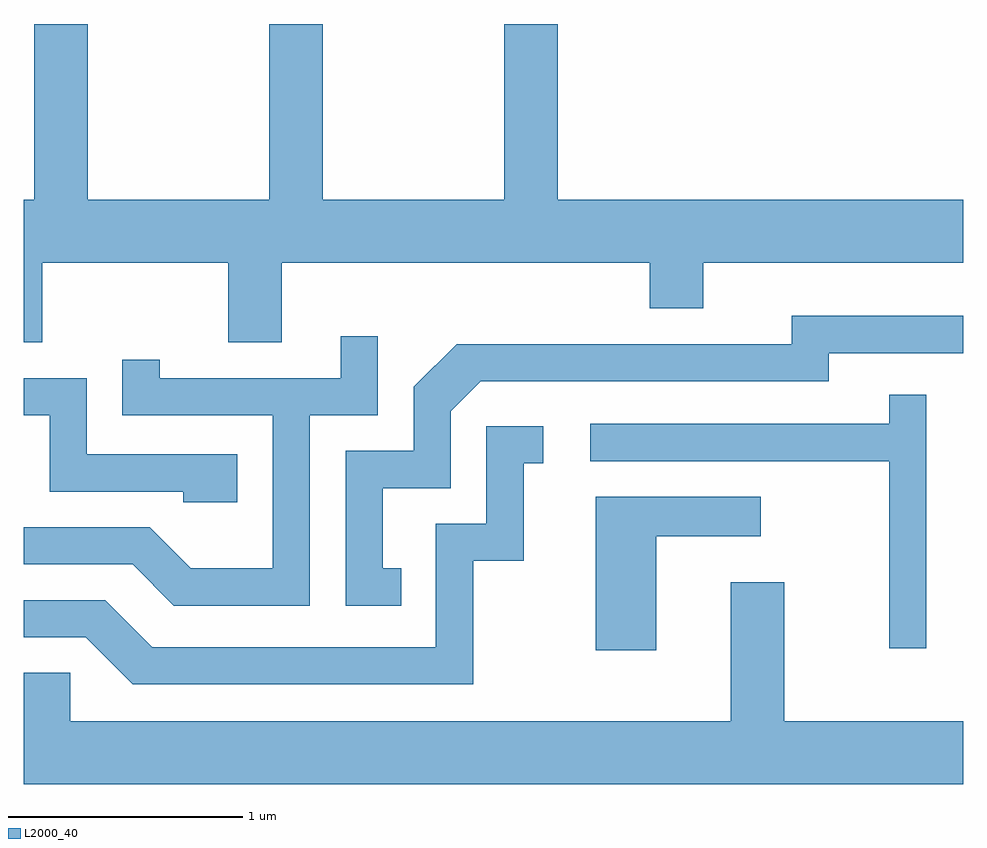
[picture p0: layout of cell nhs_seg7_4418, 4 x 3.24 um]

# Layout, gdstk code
import gdstk
lib = gdstk.Library(unit=1e-6, precision=1e-09)
def P(c, l, *ps):  # polygons
    for p in ps: c.add(gdstk.Polygon(p, *l))
L2000_40 = (2000, 40)

nhs_seg7_4418 = lib.new_cell('nhs_seg7_4418')
P(nhs_seg7_4418, L2000_40, [(321.689,1683.236),(322.481,1683.236),(322.481,1682.896),(322.709,1682.896),(322.709,1683.236),(324.276,1683.236),(324.276,1683.041),(324.504,1683.041),(324.504,1683.236),(325.611,1683.236),(325.611,1683.504),(323.884,1683.504),(323.884,1684.252),(323.656,1684.252),(323.656,1683.504),(322.884,1683.504),(322.884,1684.252),(322.656,1684.252),(322.656,1683.504),(321.884,1683.504),(321.884,1684.252),(321.656,1684.252),(321.656,1683.504),(321.611,1683.504),(321.611,1682.896),(321.689,1682.896)],
  [(323.218,1681.934),(323.139,1681.934),(323.139,1682.276),(323.429,1682.276),(323.429,1682.604),(323.557,1682.731),(325.039,1682.731),(325.039,1682.851),(325.611,1682.851),(325.611,1683.009),(324.881,1683.009),(324.881,1682.889),(323.454,1682.889),(323.271,1682.707),(323.271,1682.434),(322.981,1682.434),(322.981,1681.776),(323.218,1681.776)],
  [(322.829,1682.586),(323.119,1682.586),(323.119,1682.923),(322.961,1682.923),(322.961,1682.744),(322.189,1682.744),(322.189,1682.823),(322.031,1682.823),(322.031,1682.586),(322.671,1682.586),(322.671,1681.934),(322.322,1681.934),(322.147,1682.109),(321.611,1682.109),(321.611,1681.951),(322.074,1681.951),(322.249,1681.776),(322.829,1681.776)],
  [(322.519,1682.419),(321.879,1682.419),(321.879,1682.744),(321.611,1682.744),(321.611,1682.586),(321.721,1682.586),(321.721,1682.261),(322.291,1682.261),(322.291,1682.216),(322.519,1682.216)],
  [(325.454,1682.673),(325.296,1682.673),(325.296,1682.549),(324.023,1682.549),(324.023,1682.391),(325.296,1682.391),(325.296,1681.593),(325.454,1681.593)],
  [(323.524,1681.966),(323.739,1681.966),(323.739,1682.381),(323.823,1682.381),(323.823,1682.539),(323.581,1682.539),(323.581,1682.124),(323.366,1682.124),(323.366,1681.599),(322.157,1681.599),(321.957,1681.799),(321.611,1681.799),(321.611,1681.641),(321.874,1681.641),(322.074,1681.441),(323.524,1681.441)],
  [(324.304,1682.071),(324.748,1682.071),(324.748,1682.239),(324.046,1682.239),(324.046,1681.586),(324.304,1681.586)],
  [(325.611,1681.284),(324.849,1681.284),(324.849,1681.874),(324.621,1681.874),(324.621,1681.284),(321.809,1681.284),(321.809,1681.489),(321.611,1681.489),(321.611,1681.016),(325.611,1681.016)])

lib.write_gds('nhs_seg7_4418.gds')
